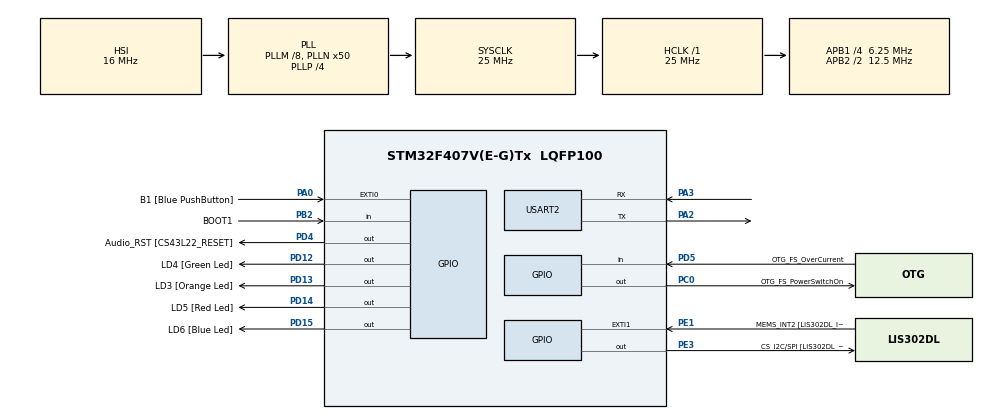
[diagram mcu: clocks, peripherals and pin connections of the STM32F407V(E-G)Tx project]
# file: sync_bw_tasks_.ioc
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Mcu.Family=STM32F4
Mcu.Name=STM32F407V(E-G)Tx
Mcu.Package=LQFP100
NVIC.EXTI0_IRQn=true\:6\:0\:true\:false\:true\:true\:true\:true
NVIC.PriorityGroup=NVIC_PRIORITYGROUP_4
NVIC.TimeBase=TIM6_DAC_IRQn
NVIC.TimeBaseIP=TIM6
PA0-WKUP.GPIO_Label=B1 [Blue PushButton]
PA0-WKUP.Signal=GPXTI0
PA10.GPIO_Label=OTG_FS_ID
PA10.GPIO_Mode=GPIO_MODE_AF_PP
PA10.GPIO_PuPd=GPIO_NOPULL
PA10.GPIO_Speed=GPIO_SPEED_FREQ_LOW
PA10.Signal=USB_OTG_FS_ID
PA11.GPIO_Label=OTG_FS_DM
PA11.GPIO_Mode=GPIO_MODE_AF_PP
PA11.GPIO_PuPd=GPIO_NOPULL
PA11.GPIO_Speed=GPIO_SPEED_FREQ_LOW
PA11.Signal=USB_OTG_FS_DM
PA12.GPIO_Label=OTG_FS_DP
PA12.GPIO_Mode=GPIO_MODE_AF_PP
PA12.GPIO_PuPd=GPIO_NOPULL
PA12.GPIO_Speed=GPIO_SPEED_FREQ_LOW
PA12.Signal=USB_OTG_FS_DP
PA13.GPIO_Label=SWDIO
PA13.Signal=SYS_JTMS-SWDIO
PA14.GPIO_Label=SWCLK
PA14.Signal=SYS_JTCK-SWCLK
PA2.Mode=Asynchronous
PA2.Signal=USART2_TX
PA3.Mode=Asynchronous
PA3.Signal=USART2_RX
PA4.GPIO_Label=I2S3_WS [CS43L22_LRCK]
PA4.GPIO_Mode=GPIO_MODE_AF_PP
PA4.GPIO_PuPd=GPIO_NOPULL
PA4.GPIO_Speed=GPIO_SPEED_FREQ_LOW
PA4.Signal=I2S3_WS
PA5.GPIO_Label=SPI1_SCK [LIS302DL_SCL/SPC]
PA5.GPIO_Mode=GPIO_MODE_AF_PP
PA5.GPIO_PuPd=GPIO_NOPULL
PA5.GPIO_Speed=GPIO_SPEED_FREQ_LOW
PA5.Signal=SPI1_SCK
PA6.GPIO_Label=SPI1_MISO [LIS302DL_SDO]
PA6.GPIO_Mode=GPIO_MODE_AF_PP
PA6.GPIO_PuPd=GPIO_NOPULL
PA6.GPIO_Speed=GPIO_SPEED_FREQ_LOW
PA6.Signal=SPI1_MISO
PA7.GPIO_Label=SPI1_MOSI [LIS302DL_SDA/SDI/SDO]
PA7.GPIO_Mode=GPIO_MODE_AF_PP
PA7.GPIO_PuPd=GPIO_NOPULL
PA7.GPIO_Speed=GPIO_SPEED_FREQ_LOW
PA7.Signal=SPI1_MOSI
PA9.GPIO_Label=VBUS_FS
PA9.GPIO_Mode=GPIO_MODE_INPUT
PA9.GPIO_PuPd=GPIO_NOPULL
PA9.Signal=USB_OTG_FS_VBUS
PB10.GPIO_Label=CLK_IN [MP45DT02_CLK]
PB10.GPIO_Mode=GPIO_MODE_AF_PP
PB10.GPIO_PuPd=GPIO_NOPULL
PB10.GPIO_Speed=GPIO_SPEED_FREQ_LOW
PB10.Signal=I2S2_CK
PB2.GPIO_Label=BOOT1
PB2.GPIO_Mode=GPIO_MODE_INPUT
PB2.GPIO_PuPd=GPIO_NOPULL
PB2.Signal=GPIO_Input
PB3.GPIO_Label=SWO
PB3.Signal=SYS_JTDO-SWO
PB6.GPIO_Label=Audio_SCL [CS43L22_SCL]
PB6.GPIO_Mode=GPIO_MODE_AF_OD
PB6.GPIO_PuPd=GPIO_NOPULL
PB6.GPIO_Speed=GPIO_SPEED_FREQ_LOW
PB6.Signal=I2C1_SCL
PB9.GPIO_Label=Audio_SDA [CS43L22_SDA]
PB9.GPIO_Mode=GPIO_MODE_AF_OD
PB9.GPIO_PuPd=GPIO_NOPULL
PB9.GPIO_Speed=GPIO_SPEED_FREQ_LOW
PB9.Signal=I2C1_SDA
PC0.GPIO_Label=OTG_FS_PowerSwitchOn
PC0.GPIO_PuPd=GPIO_NOPULL
PC0.GPIO_Speed=GPIO_SPEED_FREQ_LOW
PC0.PinState=GPIO_PIN_SET
PC0.Signal=GPIO_Output
PC10.GPIO_Label=I2S3_SCK [CS43L22_SCLK]
PC10.GPIO_Mode=GPIO_MODE_AF_PP
PC10.GPIO_PuPd=GPIO_NOPULL
PC10.GPIO_Speed=GPIO_SPEED_FREQ_LOW
PC10.Signal=I2S3_CK
PC12.GPIO_Label=I2S3_SD [CS43L22_SDIN]
PC12.GPIO_Mode=GPIO_MODE_AF_PP
PC12.GPIO_PuPd=GPIO_NOPULL
PC12.GPIO_Speed=GPIO_SPEED_FREQ_LOW
PC12.Signal=I2S3_SD
PC14-OSC32_IN.GPIO_Label=PC14-OSC32_IN
PC14-OSC32_IN.Signal=RCC_OSC32_IN
PC15-OSC32_OUT.GPIO_Label=PC15-OSC32_OUT
PC15-OSC32_OUT.Signal=RCC_OSC32_OUT
PC3.GPIO_Label=PDM_OUT [MP45DT02_DOUT]
PC3.GPIO_Mode=GPIO_MODE_AF_PP
PC3.GPIO_PuPd=GPIO_NOPULL
PC3.GPIO_Speed=GPIO_SPEED_FREQ_LOW
PC3.Signal=I2S2_SD
PC7.GPIO_Label=I2S3_MCK [CS43L22_MCLK]
PC7.GPIO_Mode=GPIO_MODE_AF_PP
PC7.GPIO_PuPd=GPIO_NOPULL
PC7.GPIO_Speed=GPIO_SPEED_FREQ_LOW
PC7.Signal=I2S3_MCK
PD12.GPIO_Label=LD4 [Green Led]
PD12.GPIO_PuPd=GPIO_NOPULL
PD12.GPIO_Speed=GPIO_SPEED_FREQ_LOW
PD12.Signal=GPIO_Output
PD13.GPIO_Label=LD3 [Orange Led]
PD13.GPIO_PuPd=GPIO_NOPULL
PD13.GPIO_Speed=GPIO_SPEED_FREQ_LOW
PD13.Signal=GPIO_Output
PD14.GPIO_Label=LD5 [Red Led]
PD14.GPIO_PuPd=GPIO_NOPULL
PD14.GPIO_Speed=GPIO_SPEED_FREQ_LOW
PD14.Signal=GPIO_Output
PD15.GPIO_Label=LD6 [Blue Led]
PD15.GPIO_PuPd=GPIO_NOPULL
PD15.GPIO_Speed=GPIO_SPEED_FREQ_LOW
PD15.Signal=GPIO_Output
PD4.GPIO_Label=Audio_RST [CS43L22_RESET]
PD4.GPIO_PuPd=GPIO_NOPULL
PD4.GPIO_Speed=GPIO_SPEED_FREQ_LOW
PD4.Signal=GPIO_Output
PD5.GPIO_Label=OTG_FS_OverCurrent
PD5.GPIO_Mode=GPIO_MODE_INPUT
PD5.GPIO_PuPd=GPIO_NOPULL
PD5.Signal=GPIO_Input
PE1.GPIO_Label=MEMS_INT2 [LIS302DL_INT2]
PE1.GPIO_ModeDefaultEXTI=GPIO_MODE_EVT_RISING
PE1.GPIO_PuPd=GPIO_NOPULL
PE1.Signal=GPXTI1
PE3.GPIO_Label=CS_I2C/SPI [LIS302DL_CS_I2C/SPI]
PE3.GPIO_PuPd=GPIO_NOPULL
PE3.GPIO_Speed=GPIO_SPEED_FREQ_LOW
PE3.Signal=GPIO_Output
PH0-OSC_IN.GPIO_Label=PH0-OSC_IN
PH0-OSC_IN.Signal=RCC_OSC_IN
PH1-OSC_OUT.GPIO_Label=PH1-OSC_OUT
PH1-OSC_OUT.Signal=RCC_OSC_OUT
ProjectManager.HeapSize=0x200
ProjectManager.StackSize=0x400
ProjectManager.TargetToolchain=STM32CubeIDE
RCC.48MHZClocksFreq_Value=14285714.285714285
RCC.AHBFreq_Value=25000000
RCC.APB1CLKDivider=RCC_HCLK_DIV4
RCC.APB1Freq_Value=6250000
RCC.APB1TimFreq_Value=12500000
RCC.APB2CLKDivider=RCC_HCLK_DIV2
RCC.APB2Freq_Value=12500000
RCC.APB2TimFreq_Value=25000000
RCC.CortexFreq_Value=25000000
RCC.HCLKFreq_Value=25000000
RCC.HSE_VALUE=8000000
RCC.HSI_VALUE=16000000
RCC.LSE_VALUE=32768
RCC.PLLM=8
RCC.PLLN=50
RCC.PLLP=RCC_PLLP_DIV4
RCC.PLLQ=7
RCC.SYSCLKFreq_VALUE=25000000
RCC.SYSCLKSource=RCC_SYSCLKSOURCE_PLLCLK
RCC.VCOOutputFreq_Value=100000000
USART2.VirtualMode=VM_ASYNC
VP_SYS_VS_tim6.Mode=TIM6
board=STM32F407G-DISC1

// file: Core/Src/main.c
/* USER CODE BEGIN Header */
/**
  ******************************************************************************
  * @file           : main.c
  * @brief          : Main program body
  ******************************************************************************
  * @attention
  *
  * Copyright (c) 2025 STMicroelectronics.
  * All rights reserved.
  *
  * This software is licensed under terms that can be found in the LICENSE file
  * in the root directory of this software component.
  * If no LICENSE file comes with this software, it is provided AS-IS.
  *
  ******************************************************************************
  */
/* USER CODE END Header */
#include "main.h"
#include<stdio.h>
#include<stdint.h>
#include<stdlib.h>
#include"FreeRTOS.h"
#include"Task.h"
#include"semphr.h"
#include<string.h>
#include"Queue.h"

/* USER CODE BEGIN PM */
TaskHandle_t Periodic_Task;
TaskHandle_t Helper_Task;
void Periodic_Task_Handler(void* param);
void Helper_Task_Handler(void* param);

char user_msg[40]={0};

/* USER CODE END PM */

UART_HandleTypeDef huart2;

void SystemClock_Config(void);
static void MX_GPIO_Init(void);
static void MX_USART2_UART_Init(void);
SemaphoreHandle_t xWork;

int main(void)
{

  /* USER CODE BEGIN 1 */
	BaseType_t status;
	status=xTaskCreate(Periodic_Task_Handler,"periodic_task", 200, "NULL", 3, &Periodic_Task);
	configASSERT(status==pdPASS);
	status=xTaskCreate(Helper_Task_Handler,"Helper_Task", 200, "NULL", 1, &Helper_Task);
	configASSERT(status==pdPASS);
	xWork=xSemaphoreCreateCounting(10,0);
	xSemaphoreGive(xWork);

  /* USER CODE END 1 */

  /* MCU Configuration--------------------------------------------------------*/

  /* Reset of all peripherals, Initializes the Flash interface and the Systick. */
  HAL_Init();

  /* Configure the system clock */
  SystemClock_Config();

  /* Initialize all configured peripherals */
  MX_GPIO_Init();
  MX_USART2_UART_Init();

  /* Infinite loop */
  while (1)
  {

  }
}

void SystemClock_Config(void)
{
  RCC_OscInitTypeDef RCC_OscInitStruct = {0};
  RCC_ClkInitTypeDef RCC_ClkInitStruct = {0};

  /** Configure the main internal regulator output voltage
  */
  __HAL_RCC_PWR_CLK_ENABLE();
  __HAL_PWR_VOLTAGESCALING_CONFIG(PWR_REGULATOR_VOLTAGE_SCALE1);

  /** Initializes the RCC Oscillators according to the specified parameters
  * in the RCC_OscInitTypeDef structure.
  */
  RCC_OscInitStruct.OscillatorType = RCC_OSCILLATORTYPE_HSI;
  RCC_OscInitStruct.HSIState = RCC_HSI_ON;
  RCC_OscInitStruct.HSICalibrationValue = RCC_HSICALIBRATION_DEFAULT;
  RCC_OscInitStruct.PLL.PLLState = RCC_PLL_ON;
  RCC_OscInitStruct.PLL.PLLSource = RCC_PLLSOURCE_HSI;
  RCC_OscInitStruct.PLL.PLLM = 8;
  RCC_OscInitStruct.PLL.PLLN = 50;
  RCC_OscInitStruct.PLL.PLLP = RCC_PLLP_DIV4;
  RCC_OscInitStruct.PLL.PLLQ = 7;
  if (HAL_RCC_OscConfig(&RCC_OscInitStruct) != HAL_OK)
  {
    Error_Handler();
  }

  /** Initializes the CPU, AHB and APB buses clocks
  */
  RCC_ClkInitStruct.ClockType = RCC_CLOCKTYPE_HCLK|RCC_CLOCKTYPE_SYSCLK
                              |RCC_CLOCKTYPE_PCLK1|RCC_CLOCKTYPE_PCLK2;
  RCC_ClkInitStruct.SYSCLKSource = RCC_SYSCLKSOURCE_PLLCLK;
  RCC_ClkInitStruct.AHBCLKDivider = RCC_SYSCLK_DIV1;
  RCC_ClkInitStruct.APB1CLKDivider = RCC_HCLK_DIV4;
  RCC_ClkInitStruct.APB2CLKDivider = RCC_HCLK_DIV2;

  if (HAL_RCC_ClockConfig(&RCC_ClkInitStruct, FLASH_LATENCY_0) != HAL_OK)
  {
    Error_Handler();
  }
}

static void MX_USART2_UART_Init(void)
{

  huart2.Instance = USART2;
  huart2.Init.BaudRate = 115200;
  huart2.Init.WordLength = UART_WORDLENGTH_8B;
  huart2.Init.StopBits = UART_STOPBITS_1;
  huart2.Init.Parity = UART_PARITY_NONE;
  huart2.Init.Mode = UART_MODE_TX_RX;
  huart2.Init.HwFlowCtl = UART_HWCONTROL_NONE;
  huart2.Init.OverSampling = UART_OVERSAMPLING_16;
  if (HAL_UART_Init(&huart2) != HAL_OK)
  {
    Error_Handler();
  }

}

static void MX_GPIO_Init(void)
{
  GPIO_InitTypeDef GPIO_InitStruct = {0};

  /* GPIO Ports Clock Enable */
  __HAL_RCC_GPIOE_CLK_ENABLE();
  __HAL_RCC_GPIOC_CLK_ENABLE();
  __HAL_RCC_GPIOH_CLK_ENABLE();
  __HAL_RCC_GPIOA_CLK_ENABLE();
  __HAL_RCC_GPIOB_CLK_ENABLE();
  __HAL_RCC_GPIOD_CLK_ENABLE();

  /*Configure GPIO pin Output Level */
  HAL_GPIO_WritePin(CS_I2C_SPI_GPIO_Port, CS_I2C_SPI_Pin, GPIO_PIN_RESET);

  /*Configure GPIO pin Output Level */
  HAL_GPIO_WritePin(OTG_FS_PowerSwitchOn_GPIO_Port, OTG_FS_PowerSwitchOn_Pin, GPIO_PIN_SET);

  /*Configure GPIO pin Output Level */
  HAL_GPIO_WritePin(GPIOD, LD4_Pin|LD3_Pin|LD5_Pin|LD6_Pin
                          |Audio_RST_Pin, GPIO_PIN_RESET);

  /*Configure GPIO pin : CS_I2C_SPI_Pin */
  GPIO_InitStruct.Pin = CS_I2C_SPI_Pin;
  GPIO_InitStruct.Mode = GPIO_MODE_OUTPUT_PP;
  GPIO_InitStruct.Pull = GPIO_NOPULL;
  GPIO_InitStruct.Speed = GPIO_SPEED_FREQ_LOW;
  HAL_GPIO_Init(CS_I2C_SPI_GPIO_Port, &GPIO_InitStruct);

  /*Configure GPIO pin : OTG_FS_PowerSwitchOn_Pin */
  GPIO_InitStruct.Pin = OTG_FS_PowerSwitchOn_Pin;
  GPIO_InitStruct.Mode = GPIO_MODE_OUTPUT_PP;
  GPIO_InitStruct.Pull = GPIO_NOPULL;
  GPIO_InitStruct.Speed = GPIO_SPEED_FREQ_LOW;
  HAL_GPIO_Init(OTG_FS_PowerSwitchOn_GPIO_Port, &GPIO_InitStruct);

  /*Configure GPIO pin : PDM_OUT_Pin */
  GPIO_InitStruct.Pin = PDM_OUT_Pin;
  GPIO_InitStruct.Mode = GPIO_MODE_AF_PP;
  GPIO_InitStruct.Pull = GPIO_NOPULL;
  GPIO_InitStruct.Speed = GPIO_SPEED_FREQ_LOW;
  GPIO_InitStruct.Alternate = GPIO_AF5_SPI2;
  HAL_GPIO_Init(PDM_OUT_GPIO_Port, &GPIO_InitStruct);

  /*Configure GPIO pin : B1_Pin */
  GPIO_InitStruct.Pin = B1_Pin;
  GPIO_InitStruct.Mode = GPIO_MODE_IT_RISING;
  GPIO_InitStruct.Pull = GPIO_NOPULL;
  HAL_GPIO_Init(B1_GPIO_Port, &GPIO_InitStruct);

  /*Configure GPIO pin : I2S3_WS_Pin */
  GPIO_InitStruct.Pin = I2S3_WS_Pin;
  GPIO_InitStruct.Mode = GPIO_MODE_AF_PP;
  GPIO_InitStruct.Pull = GPIO_NOPULL;
  GPIO_InitStruct.Speed = GPIO_SPEED_FREQ_LOW;
  GPIO_InitStruct.Alternate = GPIO_AF6_SPI3;
  HAL_GPIO_Init(I2S3_WS_GPIO_Port, &GPIO_InitStruct);

  /*Configure GPIO pins : SPI1_SCK_Pin SPI1_MISO_Pin SPI1_MOSI_Pin */
  GPIO_InitStruct.Pin = SPI1_SCK_Pin|SPI1_MISO_Pin|SPI1_MOSI_Pin;
  GPIO_InitStruct.Mode = GPIO_MODE_AF_PP;
  GPIO_InitStruct.Pull = GPIO_NOPULL;
  GPIO_InitStruct.Speed = GPIO_SPEED_FREQ_LOW;
  GPIO_InitStruct.Alternate = GPIO_AF5_SPI1;
  HAL_GPIO_Init(GPIOA, &GPIO_InitStruct);

  /*Configure GPIO pin : BOOT1_Pin */
  GPIO_InitStruct.Pin = BOOT1_Pin;
  GPIO_InitStruct.Mode = GPIO_MODE_INPUT;
  GPIO_InitStruct.Pull = GPIO_NOPULL;
  HAL_GPIO_Init(BOOT1_GPIO_Port, &GPIO_InitStruct);

  /*Configure GPIO pin : CLK_IN_Pin */
  GPIO_InitStruct.Pin = CLK_IN_Pin;
  GPIO_InitStruct.Mode = GPIO_MODE_AF_PP;
  GPIO_InitStruct.Pull = GPIO_NOPULL;
  GPIO_InitStruct.Speed = GPIO_SPEED_FREQ_LOW;
  GPIO_InitStruct.Alternate = GPIO_AF5_SPI2;
  HAL_GPIO_Init(CLK_IN_GPIO_Port, &GPIO_InitStruct);

  /*Configure GPIO pins : LD4_Pin LD3_Pin LD5_Pin LD6_Pin
                           Audio_RST_Pin */
  GPIO_InitStruct.Pin = LD4_Pin|LD3_Pin|LD5_Pin|LD6_Pin
                          |Audio_RST_Pin;
  GPIO_InitStruct.Mode = GPIO_MODE_OUTPUT_PP;
  GPIO_InitStruct.Pull = GPIO_NOPULL;
  GPIO_InitStruct.Speed = GPIO_SPEED_FREQ_LOW;
  HAL_GPIO_Init(GPIOD, &GPIO_InitStruct);

  /*Configure GPIO pins : I2S3_MCK_Pin I2S3_SCK_Pin I2S3_SD_Pin */
  GPIO_InitStruct.Pin = I2S3_MCK_Pin|I2S3_SCK_Pin|I2S3_SD_Pin;
  GPIO_InitStruct.Mode = GPIO_MODE_AF_PP;
  GPIO_InitStruct.Pull = GPIO_NOPULL;
  GPIO_InitStruct.Speed = GPIO_SPEED_FREQ_LOW;
  GPIO_InitStruct.Alternate = GPIO_AF6_SPI3;
  HAL_GPIO_Init(GPIOC, &GPIO_InitStruct);

  /*Configure GPIO pin : VBUS_FS_Pin */
  GPIO_InitStruct.Pin = VBUS_FS_Pin;
  GPIO_InitStruct.Mode = GPIO_MODE_INPUT;
  GPIO_InitStruct.Pull = GPIO_NOPULL;
  HAL_GPIO_Init(VBUS_FS_GPIO_Port, &GPIO_InitStruct);

  /*Configure GPIO pins : OTG_FS_ID_Pin OTG_FS_DM_Pin OTG_FS_DP_Pin */
  GPIO_InitStruct.Pin = OTG_FS_ID_Pin|OTG_FS_DM_Pin|OTG_FS_DP_Pin;
  GPIO_InitStruct.Mode = GPIO_MODE_AF_PP;
  GPIO_InitStruct.Pull = GPIO_NOPULL;
  GPIO_InitStruct.Speed = GPIO_SPEED_FREQ_LOW;
  GPIO_InitStruct.Alternate = GPIO_AF10_OTG_FS;
  HAL_GPIO_Init(GPIOA, &GPIO_InitStruct);

  /*Configure GPIO pin : OTG_FS_OverCurrent_Pin */
  GPIO_InitStruct.Pin = OTG_FS_OverCurrent_Pin;
  GPIO_InitStruct.Mode = GPIO_MODE_INPUT;
  GPIO_InitStruct.Pull = GPIO_NOPULL;
  HAL_GPIO_Init(OTG_FS_OverCurrent_GPIO_Port, &GPIO_InitStruct);

  /*Configure GPIO pins : Audio_SCL_Pin Audio_SDA_Pin */
  GPIO_InitStruct.Pin = Audio_SCL_Pin|Audio_SDA_Pin;
  GPIO_InitStruct.Mode = GPIO_MODE_AF_OD;
  GPIO_InitStruct.Pull = GPIO_NOPULL;
  GPIO_InitStruct.Speed = GPIO_SPEED_FREQ_LOW;
  GPIO_InitStruct.Alternate = GPIO_AF4_I2C1;
  HAL_GPIO_Init(GPIOB, &GPIO_InitStruct);

  /*Configure GPIO pin : MEMS_INT2_Pin */
  GPIO_InitStruct.Pin = MEMS_INT2_Pin;
  GPIO_InitStruct.Mode = GPIO_MODE_EVT_RISING;
  GPIO_InitStruct.Pull = GPIO_NOPULL;
  HAL_GPIO_Init(MEMS_INT2_GPIO_Port, &GPIO_InitStruct);

  /* EXTI interrupt init*/
  HAL_NVIC_SetPriority(EXTI0_IRQn, 6, 0);
  HAL_NVIC_EnableIRQ(EXTI0_IRQn);

}

/* USER CODE BEGIN 4 */
void Periodic_Task_Handler(void* param){
	while(1){
		sprintf(user_msg,"running periodic handler");
		PrintTask(user_msg);
		NVIC_SetPendingIRQ(EXTI0_IRQn);
		sprintf(user_msg,"resuming periodichandler , blocking it");
			PrintTask(user_msg);
		vTaskDelay(pdMS_TO_TICKS(500));

	}

}
void Helper_Task_Handler(void* param){
	while(1){
		xSemaphoreTake(xWork,portMAX_DELAY);
		sprintf(user_msg,"into helper task ");
		PrintTask(user_msg);

	}

}
void PrintTask(char* ch){

		HAL_UART_Transmit(&huart2, (uint8_t*)ch, strlen(ch), HAL_MAX_DELAY);

}
/* USER CODE END 4 */

void HAL_TIM_PeriodElapsedCallback(TIM_HandleTypeDef *htim)
{
  if (htim->Instance == TIM6)
  {
    HAL_IncTick();
  }
}

void Error_Handler(void)
{
  __disable_irq();
  while (1)
  {
  }
}
